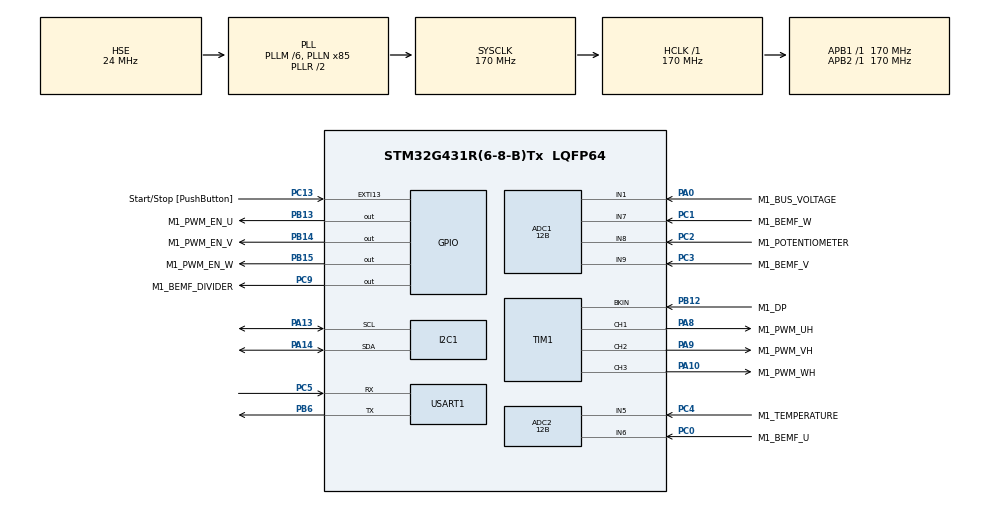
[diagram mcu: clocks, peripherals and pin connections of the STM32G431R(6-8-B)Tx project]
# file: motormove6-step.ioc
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ADC1.AWD1FilteringConfig=ADC_AWD_FILTERING_NONE
ADC1.Channel-1\#ChannelRegularConversion=ADC_CHANNEL_1
ADC1.Channel-2\#ChannelRegularConversion=ADC_CHANNEL_8
ADC1.ClockPrescaler=ADC_CLOCK_ASYNC_DIV1
ADC1.ContinuousConvMode=DISABLE
ADC1.DMAContinuousRequests=DISABLE
ADC1.DataAlign=ADC_DATAALIGN_LEFT
ADC1.DiscontinuousConvMode=DISABLE
ADC1.EOCSelection=ADC_EOC_SINGLE_CONV
ADC1.EnableAnalogWatchDog1=true
ADC1.EnableAnalogWatchDog2=false
ADC1.EnableAnalogWatchDog3=false
ADC1.EnableInjectedConversion=ENABLE
ADC1.EnableRegularConversion=ENABLE
ADC1.ExternalTrigConv=ADC_SOFTWARE_START
ADC1.ExternalTrigConvEdge=ADC_EXTERNALTRIGCONVEDGE_NONE
ADC1.ExternalTrigInjecConv=ADC_EXTERNALTRIGINJEC_T1_TRGO
ADC1.ExternalTrigInjecConvEdge=ADC_EXTERNALTRIGINJECCONV_EDGE_FALLING
ADC1.InjNumberOfConversion=1
ADC1.InjectedChannel-1\#ChannelInjectedConversion=ADC_CHANNEL_9
ADC1.InjectedConvMode=None
ADC1.InjectedOffset-1\#ChannelInjectedConversion=0
ADC1.InjectedOffsetNumber-1\#ChannelInjectedConversion=ADC_OFFSET_NONE
ADC1.InjectedRank-1\#ChannelInjectedConversion=1
ADC1.InjectedSamplingTime-1\#ChannelInjectedConversion=ADC_SAMPLETIME_47CYCLES_5
ADC1.LowPowerAutoWait=DISABLE
ADC1.NbrOfConversion=2
ADC1.NbrOfConversionFlag=1
ADC1.Offset-1\#ChannelRegularConversion=0
ADC1.Offset-2\#ChannelRegularConversion=0
ADC1.OffsetNumber-1\#ChannelRegularConversion=ADC_OFFSET_NONE
ADC1.OffsetNumber-2\#ChannelRegularConversion=ADC_OFFSET_NONE
ADC1.Overrun=ADC_OVR_DATA_PRESERVED
ADC1.Rank-1\#ChannelRegularConversion=1
ADC1.Rank-2\#ChannelRegularConversion=2
ADC1.Resolution=ADC_RESOLUTION_12B
ADC1.SamplingTime-1\#ChannelRegularConversion=ADC_SAMPLETIME_47CYCLES_5
ADC1.SamplingTime-2\#ChannelRegularConversion=ADC_SAMPLETIME_47CYCLES_5
ADC1.ScanConvMode=ADC_SCAN_ENABLE
ADC1.WatchdogChannel=ADC_CHANNEL_9
ADC1.WatchdogMode=ADC_ANALOGWATCHDOG_SINGLE_INJEC
ADC1.master=1
ADC2.AWD1FilteringConfig=ADC_AWD_FILTERING_NONE
ADC2.Channel-1\#ChannelRegularConversion=ADC_CHANNEL_5
ADC2.ClockPrescaler=ADC_CLOCK_ASYNC_DIV1
ADC2.ContinuousConvMode=DISABLE
ADC2.DMAContinuousRequests=DISABLE
ADC2.DataAlign=ADC_DATAALIGN_LEFT
ADC2.DiscontinuousConvMode=DISABLE
ADC2.EOCSelection=ADC_EOC_SINGLE_CONV
ADC2.EnableAnalogWatchDog1=true
ADC2.EnableAnalogWatchDog2=false
ADC2.EnableAnalogWatchDog3=false
ADC2.EnableInjectedConversion=ENABLE
ADC2.EnableRegularConversion=ENABLE
ADC2.ExternalTrigConv=ADC_SOFTWARE_START
ADC2.ExternalTrigConvEdge=ADC_EXTERNALTRIGCONVEDGE_NONE
ADC2.ExternalTrigInjecConv=ADC_EXTERNALTRIGINJEC_T1_TRGO
ADC2.ExternalTrigInjecConvEdge=ADC_EXTERNALTRIGINJECCONV_EDGE_FALLING
ADC2.InjNumberOfConversion=1
ADC2.InjectedChannel-1\#ChannelInjectedConversion=ADC_CHANNEL_6
ADC2.InjectedConvMode=None
ADC2.InjectedOffset-1\#ChannelInjectedConversion=0
ADC2.InjectedOffsetNumber-1\#ChannelInjectedConversion=ADC_OFFSET_NONE
ADC2.InjectedRank-1\#ChannelInjectedConversion=1
ADC2.InjectedSamplingTime-1\#ChannelInjectedConversion=ADC_SAMPLETIME_47CYCLES_5
ADC2.LowPowerAutoWait=DISABLE
ADC2.NbrOfConversion=1
ADC2.NbrOfConversionFlag=1
ADC2.Offset-1\#ChannelRegularConversion=0
ADC2.OffsetNumber-1\#ChannelRegularConversion=ADC_OFFSET_NONE
ADC2.Overrun=ADC_OVR_DATA_PRESERVED
ADC2.Rank-1\#ChannelRegularConversion=1
ADC2.Resolution=ADC_RESOLUTION_12B
ADC2.SamplingTime-1\#ChannelRegularConversion=ADC_SAMPLETIME_47CYCLES_5
ADC2.ScanConvMode=ADC_SCAN_DISABLE
ADC2.WatchdogChannel=ADC_CHANNEL_6
ADC2.WatchdogMode=ADC_ANALOGWATCHDOG_SINGLE_INJEC
ADC2.master=1
ExtraMW=MotorControl
ExtraMW.MotorControl.Config=MotorControl
ExtraMW.MotorControl.Mode=MotorControl
ExtraMW.MotorControl.Root=MCSDK_v6.4.2-Full/MotorControl
ExtraMW.MotorControl.Template=templates
FREERTOS.Queues01=TelemetryQueue,16,uint16_t,0,Dynamic,NULL,NULL
FREERTOS.Tasks01=defaultTask,24,128,StartDefaultTask,Default,NULL,Dynamic,NULL,NULL;TaskCommand,24,128,StartTask02,Default,NULL,Dynamic,NULL,NULL;TaskTelemetry,16,128,StartTask03,Default,NULL,Dynamic,NULL,NULL
FREERTOS.configUSE_NEWLIB_REENTRANT=1
I2C1.Timing=0x40B285C2
Mcu.Family=STM32G4
Mcu.Name=STM32G431R(6-8-B)Tx
Mcu.Package=LQFP64
MotorControl.ADC_REFERENCE_VOLTAGE=3.3
MotorControl.BEMF_ADC_SAMPLING_TIME=47
MotorControl.BEMF_ADC_TRIG_TIME_DPP=921
MotorControl.BEMF_ADC_TRIG_TIME_ON_DPP=256
MotorControl.BEMF_AVERAGING_FIFO_DEPTH=8
MotorControl.BEMF_DIVIDER_AVAILABLE=true
MotorControl.BEMF_DIVIDER_GPIO_PIN=LL_GPIO_PIN_9
MotorControl.BEMF_DIVIDER_GPIO_PORT=GPIOC
MotorControl.BEMF_ON_SENSING_DIVIDER=5.545455
MotorControl.BEMF_PWM_ON_ENABLE_HYSTERESIS_DPP=51
MotorControl.BEMF_PWM_ON_ENABLE_THRES_DPP=716
MotorControl.BOARD=NUCLEO-G431RB
MotorControl.BUS_VOLTAGE_READING=true
MotorControl.CCMRAM_ENABLED=false
MotorControl.CLOCK_FREQUENCY=CPU_CLK_170_MHZ
MotorControl.CLOCK_SOURCE=EXTERNAL
MotorControl.CPU_CLK_170_MHZ=true
MotorControl.CTLBOARD_NAME=NUCLEO-G431RB
MotorControl.CUBE_MX_VER=6.17.0
MotorControl.DBG_MCU_LOAD_MEASURE=false
MotorControl.DEBUG_DAC_FUNCTIONALITY_EN=false
MotorControl.DP_EMERGENCY_STOP_GPIO_PIN=LL_GPIO_PIN_12
MotorControl.DP_EMERGENCY_STOP_GPIO_PORT=GPIOB
MotorControl.DRIVES_NUMBER_SELECTION=SINGLEDRIVE
MotorControl.DRIVE_MODE=VM
MotorControl.DRIVE_NUMBER=1
MotorControl.DRIVE_TYPE=SIX_STEP
MotorControl.ENCODER_AVAILABLE=false
MotorControl.ENCODER_PPR=400
MotorControl.EXT_CLK_24_MHZ=true
MotorControl.EXT_CLOCK_FREQUENCY=EXT_CLK_24_MHZ
MotorControl.FAST_DEMAG=false
MotorControl.FLASH_SIZE=128
MotorControl.HALL_SENSORS_AVAILABLE=false
MotorControl.HIGH_SIDE_IDLE_STATE=false
MotorControl.HWV_DP=SingleErrorTrigger_FixedReference
MotorControl.HWV_POTENTIOMETER=Potentiometer
MotorControl.HWV_PWM=DrivingHighSidesAndThreeEnables
MotorControl.HW_COMPLEMENTED_LOW_SIDE=true
MotorControl.HW_DEAD_TIME_NS=550
MotorControl.IPs=NVIC,RCC,SYS,MotorControl,TIM1,TIM2,ADC2,ADC1,USART2,DMA
MotorControl.LF_TIMER_SELECTION=LF_TIM2
MotorControl.LOW_MEMORY_FOOTPRINT_REG=false
MotorControl.LOW_SIDE_IDLE_STATE=false
MotorControl.LOW_SIDE_SIGNALS_ENABLING=ES_GPIO
MotorControl.M1_ADC_AWD_FILTER_NUMBER=0
MotorControl.M1_AUXILIARY_SPEED_SENSOR=NONE
MotorControl.M1_BEMF_THRESHOLD_PWM=50
MotorControl.M1_BEMF_THRESHOLD_PWM_HIGH=100
MotorControl.M1_BEMF_THRESHOLD_PWM_LOW=1
MotorControl.M1_BOARD_MAX_CURRENT=0.8
MotorControl.M1_BUS_VOLTAGE_READING=true
MotorControl.M1_COMPUTATION_DELAY=-2
MotorControl.M1_CURRENT_MONITOR_READING=false
MotorControl.M1_CUR_READING=false
MotorControl.M1_DBG_OPEN_LOOP_ENABLE=false
MotorControl.M1_DC_CURRENT_RS_MEAS=0.8
MotorControl.M1_DEFAULT_TARGET_SPEED_RPM=236
MotorControl.M1_DP_BKIN_FILTER=4
MotorControl.M1_DP_BKIN_MODE=EXT_MODE
MotorControl.M1_DP_BKIN_POLARITY=EMSTOP_ACTIVE_LOW
MotorControl.M1_DP_DESTINATION=TIM_BKIN
MotorControl.M1_DP_TOPOLOGY=EXTERNAL
MotorControl.M1_DRIVE_TYPE=SIX_STEP
MotorControl.M1_ENABLE_SL_ALGO_FROM_PHASE=3
MotorControl.M1_ENCODER_PPR=400
MotorControl.M1_HALL_PHASE_SHIFT=300
MotorControl.M1_HALL_SENSORS_PLACEMENT=DEGREES_120
MotorControl.M1_HIGH_SIDE_IDLE_STATE=false
MotorControl.M1_HW_DEAD_TIME_NS=550
MotorControl.M1_ICL_ENABLED=false
MotorControl.M1_IPD_STARTUP=false
MotorControl.M1_LDLQ_RATIO=1.000
MotorControl.M1_LOW_SIDE_IDLE_STATE=false
MotorControl.M1_LOW_SIDE_SIGNALS_ENABLING=ES_GPIO
MotorControl.M1_LS=0.001058
MotorControl.M1_MAX_APPLICATION_SPEED=1572
MotorControl.M1_MAX_CONSECUTIVE_BEMF_ERRORS=3
MotorControl.M1_MIN_APPLICATION_SPEED=0
MotorControl.M1_MOTOR_MAX_SPEED_RPM=1572
MotorControl.M1_MOTOR_NAME=GimBal GBM2804H-100T
MotorControl.M1_MOTOR_RATED_FLUX=0.034739897
MotorControl.M1_MOTOR_VOLTAGE_CONSTANT=5.0
MotorControl.M1_NB_CONSECUTIVE_TESTS=10
MotorControl.M1_NOMINAL_BUS_VOLTAGE_V=13
MotorControl.M1_OBS_MINIMUM_SPEED_RPM=236
MotorControl.M1_OCP_TOPOLOGY=NONE
MotorControl.M1_ON_OVER_VOLTAGE=TURN_OFF_PWM
MotorControl.M1_OTF_STARTUP=false
MotorControl.M1_OVP_THRESHOLD_HIGH=15.1
MotorControl.M1_OV_TEMPERATURE_HYSTERESIS_C=10
MotorControl.M1_OV_TEMPERATURE_PROT_ENABLING=true
MotorControl.M1_OV_TEMPERATURE_THRESHOLD_C=110
MotorControl.M1_OV_VOLTAGE_PROT_ENABLING=true
MotorControl.M1_OV_VOLTAGE_THRESHOLD_V=15.1
MotorControl.M1_PHASE1_DURATION=500
MotorControl.M1_PHASE1_FINAL_SPEED_RPM=0
MotorControl.M1_PHASE1_VOLTAGE_RMS=0.52
MotorControl.M1_PHASE2_DURATION=1000
MotorControl.M1_PHASE2_FINAL_SPEED_RPM=236
MotorControl.M1_PHASE2_VOLTAGE_RMS=4.6
MotorControl.M1_PHASE3_DURATION=500
MotorControl.M1_PHASE3_FINAL_SPEED_RPM=236
MotorControl.M1_PHASE3_VOLTAGE_RMS=4.6
MotorControl.M1_PHASE4_DURATION=0
MotorControl.M1_PHASE4_FINAL_SPEED_RPM=0
MotorControl.M1_PHASE4_VOLTAGE_RMS=0.52
MotorControl.M1_PHASE5_DURATION=0
MotorControl.M1_PHASE5_FINAL_SPEED_RPM=0
MotorControl.M1_PHASE5_VOLTAGE_RMS=0.52
MotorControl.M1_PID_SPEED_KD_DEFAULT=0
MotorControl.M1_PID_SPEED_KI_DEFAULT=238
MotorControl.M1_PID_SPEED_KP_DEFAULT=2316
MotorControl.M1_POLE_PAIR_NUM=7
MotorControl.M1_POTENTIOMETER_ENABLE=true
MotorControl.M1_POWERBOARD_NAME=X-NUCLEO-IHM16M1
MotorControl.M1_PWM_CHARGE_BOOT_CAP_DUTY_CYCLES=0.000
MotorControl.M1_PWM_CHARGE_BOOT_CAP_MS=10
MotorControl.M1_PWM_DRIVER_PN=STSPIN830
MotorControl.M1_PWM_FREQUENCY=15000
MotorControl.M1_PWM_TIMER_BRK_IRQ=TIM1_BRK_TIM15
MotorControl.M1_PWM_TIMER_SELECTION=PWM_TIM1
MotorControl.M1_PWM_TIMER_UP_IRQ=TIM1_UP_TIM16
MotorControl.M1_REGULATION_EXECUTION_RATE=1
MotorControl.M1_RS=5.29
MotorControl.M1_SHARED_SIGNAL_ENABLE=false
MotorControl.M1_SPD_DIFFERENTIAL_TERM_ENABLING=false
MotorControl.M1_SPEED_LOOP_FREQUENCY_HZ=1000
MotorControl.M1_SPEED_SENSOR=SENSORLESS_ADC
MotorControl.M1_SP_KDDIV=16
MotorControl.M1_SP_KIDIV=16384
MotorControl.M1_SP_KPDIV=512
MotorControl.M1_SS_MEAS_ERRORS_BEFORE_FAULTS=3
MotorControl.M1_STARTING_ANGLE_DEG=0
MotorControl.M1_SW_DEADTIME_NS=425
MotorControl.M1_T0_C=25
MotorControl.M1_TEMPERATURE_READING=true
MotorControl.M1_TEMP_ADC_SAMPLING_TIME=47
MotorControl.M1_TEMP_FDBK_ADC=ADC2
MotorControl.M1_TEMP_FDBK_CHANNEL=ADC_CHANNEL_5
MotorControl.M1_TRANSITION_DURATION=30
MotorControl.M1_T_MAX=110
MotorControl.M1_UD_VOLTAGE_THRESHOLD_V=7.0
MotorControl.M1_UV_VOLTAGE_PROT_ENABLING=true
MotorControl.M1_V0_V=0.579
MotorControl.M1_VBUS_ADC=ADC1
MotorControl.M1_VBUS_ADC_SAMPLING_TIME=47
MotorControl.M1_VBUS_CHANNEL=ADC_CHANNEL_1
MotorControl.M1_VBUS_PARTITIONING_FACTOR=0.0625
MotorControl.M1_ZCD_FALLING_TO_COMM=30
MotorControl.M1_ZCD_RISING_TO_COMM=30
MotorControl.M1_dV_dT=0.027
MotorControl.MCP_ASPEP_OVER_UART=true
MotorControl.MCP_ASYNC_EN=false
MotorControl.MCP_ASYNC_OVER_ASPEP_EN=false
MotorControl.MCP_ASYNC_OVER_UART_A_EN=false
MotorControl.MCP_DMACH_RX_UART_A=1
MotorControl.MCP_DMACH_TX_UART_A=2
MotorControl.MCP_DMA_RX_UART_A=DMA1
MotorControl.MCP_DMA_TX_UART_A=DMA1
MotorControl.MCP_EN=true
MotorControl.MCP_IRQ_HANDLER_DMA_RX_UART_A=DMA1_Channel1_IRQHandler
MotorControl.MCP_IRQ_HANDLER_UART_A=USART2_IRQHandler
MotorControl.MCP_OVER_ASPEP_EN=true
MotorControl.MCP_OVER_STLNK_EN=false
MotorControl.MCP_OVER_UART_A_EN=true
MotorControl.MCP_OVER_UART_B_EN=false
MotorControl.MCP_RX_SYNC_PAYLOAD_MAX=256
MotorControl.MCP_TX_SYNC_PAYLOAD_MAX=256
MotorControl.MCU=STM32G431RB
MotorControl.MCU_FAMILY=STM32G4
MotorControl.MCU_LINE=STM32G4x1
MotorControl.MCU_NAME=STM32G431R(6-8-B)Tx
MotorControl.MCU_PACKAGE=LQFP64
MotorControl.MCU_TYPE=STM32G431RB
MotorControl.MCU_USERNAME=STM32G431RBTx
MotorControl.MC_WORKBENCH_VERSION=6.4.2
MotorControl.MIN_DEMAG_TIME=3
MotorControl.MOTOR_TYPE=PMSM
MotorControl.ON_OVER_VOLTAGE=TURN_OFF_PWM
MotorControl.OV_TEMPERATURE_PROT_ENABLING=true
MotorControl.OV_VOLTAGE_PROT_ENABLING=true
MotorControl.PHASE_UH_GPIO_PIN=LL_GPIO_PIN_8
MotorControl.PHASE_UH_GPIO_PORT=GPIOA
MotorControl.PHASE_UH_POLARITY=H_ACTIVE_HIGH
MotorControl.PHASE_UL_GPIO_PIN=LL_GPIO_PIN_13
MotorControl.PHASE_UL_GPIO_PORT=GPIOB
MotorControl.PHASE_UL_POLARITY=L_ACTIVE_HIGH
MotorControl.PHASE_U_BEMF_ADC=ADC2
MotorControl.PHASE_U_BEMF_CHANNEL=ADC_CHANNEL_6
MotorControl.PHASE_U_BEMF_GPIO_PIN=LL_GPIO_PIN_0
MotorControl.PHASE_U_BEMF_GPIO_PORT=GPIOC
MotorControl.PHASE_U_PWM_CHANNEL=TIM_Channel_1
MotorControl.PHASE_VH_GPIO_PIN=LL_GPIO_PIN_9
MotorControl.PHASE_VH_GPIO_PORT=GPIOA
MotorControl.PHASE_VH_POLARITY=H_ACTIVE_HIGH
MotorControl.PHASE_VL_GPIO_PIN=LL_GPIO_PIN_14
MotorControl.PHASE_VL_GPIO_PORT=GPIOB
MotorControl.PHASE_VL_POLARITY=L_ACTIVE_HIGH
MotorControl.PHASE_V_BEMF_ADC=ADC1
MotorControl.PHASE_V_BEMF_CHANNEL=ADC_CHANNEL_9
MotorControl.PHASE_V_BEMF_GPIO_PIN=LL_GPIO_PIN_3
MotorControl.PHASE_V_BEMF_GPIO_PORT=GPIOC
MotorControl.PHASE_V_PWM_CHANNEL=TIM_Channel_2
MotorControl.PHASE_WH_GPIO_PIN=LL_GPIO_PIN_10
MotorControl.PHASE_WH_GPIO_PORT=GPIOA
MotorControl.PHASE_WH_POLARITY=H_ACTIVE_HIGH
MotorControl.PHASE_WL_GPIO_PIN=LL_GPIO_PIN_15
MotorControl.PHASE_WL_GPIO_PORT=GPIOB
MotorControl.PHASE_WL_POLARITY=L_ACTIVE_HIGH
MotorControl.PHASE_W_BEMF_ADC=ADC1
MotorControl.PHASE_W_BEMF_CHANNEL=ADC_CHANNEL_7
MotorControl.PHASE_W_BEMF_GPIO_PIN=LL_GPIO_PIN_1
MotorControl.PHASE_W_BEMF_GPIO_PORT=GPIOC
MotorControl.PHASE_W_PWM_CHANNEL=TIM_Channel_3
MotorControl.POTENTIOMETER_ADC=ADC1
MotorControl.POTENTIOMETER_ADC_SAMPLING_TIME=47
MotorControl.POTENTIOMETER_CHANNEL=ADC_CHANNEL_8
MotorControl.POTENTIOMETER_GPIO_PIN=LL_GPIO_PIN_2
MotorControl.POTENTIOMETER_GPIO_PORT=GPIOC
MotorControl.POTENTIOMETER_READING=true
MotorControl.PWM_FREQUENCY=15000
MotorControl.PWM_TIMER_SELECTION=PWM_TIM1
MotorControl.QUASI_SYNC=false
MotorControl.REGULATION_EXECUTION_RATE=1
MotorControl.RUN_DEMAG_TIME=20
MotorControl.R_BRAKE_SWITCH_OFF_THRES_V=12
MotorControl.SENSORLESS_ADC=true
MotorControl.SINGLEDRIVE=true
MotorControl.SPD_DIFFERENTIAL_TERM_ENABLING=false
MotorControl.SPEED_SENSOR_SELECTION=SENSORLESS_ADC
MotorControl.SPEED_THRESHOLD_DEMAG=786
MotorControl.STARTUP_DEMAG_TIME=20
MotorControl.START_STOP_BTN=true
MotorControl.START_STOP_GPIO_IRQ=EXTI15_10
MotorControl.START_STOP_GPIO_PIN=LL_GPIO_PIN_13
MotorControl.START_STOP_GPIO_PORT=GPIOC
MotorControl.START_STOP_POLARITY=DIN_ACTIVE_LOW
MotorControl.START_STOP_POLARITY_EDGE=GPIO_NOPULL
MotorControl.STM32G431RB=true
MotorControl.SW_DEADTIME_NS=425
MotorControl.TEMPERATURE_READING=true
MotorControl.TEMP_ADC_SAMPLING_TIME=47
MotorControl.TEMP_FDBK_ADC=ADC2
MotorControl.TEMP_FDBK_CHANNEL=ADC_CHANNEL_5
MotorControl.TEMP_FDBK_GPIO_PIN=LL_GPIO_PIN_4
MotorControl.TEMP_FDBK_GPIO_PORT=GPIOC
MotorControl.TFDIFFERENTIAL_TERM_ENABLING=false
MotorControl.USART_RX_GPIO_PIN=LL_GPIO_PIN_3
MotorControl.USART_RX_GPIO_PORT=GPIOA
MotorControl.USART_SELECTION=USE_USART2
MotorControl.USART_SELECTION_A=USART2
MotorControl.USART_SPEED=1843200
MotorControl.USART_TX_GPIO_PIN=LL_GPIO_PIN_2
MotorControl.USART_TX_GPIO_PORT=GPIOA
MotorControl.UV_VOLTAGE_PROT_ENABLING=true
MotorControl.VBUS_ADC=ADC1
MotorControl.VBUS_ADC_SAMPLING_TIME=47
MotorControl.VBUS_CHANNEL=ADC_CHANNEL_1
MotorControl.VBUS_GPIO_PIN=LL_GPIO_PIN_0
MotorControl.VBUS_GPIO_PORT=GPIOA
MotorControl.WB_MX_ADC_AWD_FILTER_NUMBER=NONE
MotorControl.WB_MX_HEAPSIZE=0x200
MotorControl.WB_MX_PHASE_U_BEMF_ADC_IRQ=ADC1_2
MotorControl.WB_MX_PHASE_V_BEMF_ADC_IRQ=ADC1_2
MotorControl.WB_MX_PHASE_W_BEMF_ADC_IRQ=ADC1_2
MotorControl.WB_MX_STACKSIZE=0x400
MotorControl.WB_MX_TRUSTZONE_AVAILABLE=false
MotorControl.WB_UI_DP_DISABLING_ENABLE=false
MotorControl.WB_UI_ENCODER_HAS_INDEX_PIN=false
MotorControl.WB_UI_FRICTION=0.937
MotorControl.WB_UI_INERTIA=0.291
MotorControl.WB_UI_MAGNETIC_STRUCTURE=SM-PMSM
MotorControl.WB_UI_MAX_CURRENT=0.8
MotorControl.WB_UI_MAX_NOMINAL_DC_VOLTAGE=13
MotorControl.WB_UI_MAX_PWMFREQUENCY=100000
MotorControl.WB_UI_MOTOR_DESCRIPTION=iPower GBM2804H-100T Brushless Gimbal Motor
MotorControl.WB_UI_PWM_ON_SENSING=true
MotorControl.WB_UI_PW_BOARD_MAX_RATED_CURRENT=2.12
MotorControl.WB_UI_PW_BOARD_MAX_VOLTAGE=45
MotorControl.WB_UI_PW_BOARD_MIN_VOLTAGE=7
MotorControl.WB_to_Mx_template_version=25-05-06
MotorControl.WB_to_Mx_version=6.4.2
NVIC.ADC1_2_IRQn=true\:5\:0\:true\:true\:false\:4\:true\:true\:true\:true
NVIC.EXTI15_10_IRQn=true\:5\:0\:false\:true\:false\:5\:true\:true\:true\:true
NVIC.PriorityGroup=NVIC_PRIORITYGROUP_4
NVIC.TIM1_BRK_TIM15_IRQn=true\:5\:0\:true\:true\:false\:2\:true\:true\:true\:true
NVIC.TIM1_UP_TIM16_IRQn=true\:5\:0\:false\:true\:false\:3\:true\:true\:true\:true
NVIC.TIM2_IRQn=true\:5\:0\:true\:true\:false\:1\:true\:true\:true\:true
NVIC.TIM6_DAC_IRQn=true\:15\:0\:true\:false\:true\:false\:false\:true\:true
NVIC.TimeBase=TIM6_DAC_IRQn
NVIC.TimeBaseIP=TIM6
PA0.GPIO_Label=M1_BUS_VOLTAGE
PA0.Mode=IN1-Single-Ended
PA0.Signal=ADC1_IN1
PA10.GPIO_Label=M1_PWM_WH
PA10.GPIO_PuPd=GPIO_PULLDOWN
PA10.GPIO_Speed=GPIO_SPEED_FREQ_HIGH
PA10.Signal=S_TIM1_CH3
PA13.GPIO_Pu=GPIO_PULLUP
PA13.GPIO_Speed=GPIO_SPEED_FREQ_VERY_HIGH
PA13.Mode=I2C
PA13.Signal=I2C1_SCL
PA14.GPIO_Pu=GPIO_PULLUP
PA14.GPIO_Speed=GPIO_SPEED_FREQ_VERY_HIGH
PA14.Mode=I2C
PA14.Signal=I2C1_SDA
PA2.GPIO_Label=UART_TX
PA2.GPIO_Mode=GPIO_MODE_AF_PP
PA2.GPIO_PuPd=GPIO_NOPULL
PA2.GPIO_Speed=GPIO_SPEED_FREQ_LOW
PA2.Signal=USART2_TX
PA3.GPIO_Label=UART_RX
PA3.GPIO_Mode=GPIO_MODE_AF_PP
PA3.GPIO_PuPd=GPIO_NOPULL
PA3.GPIO_Speed=GPIO_SPEED_FREQ_LOW
PA3.Signal=USART2_RX
PA8.GPIO_Label=M1_PWM_UH
PA8.GPIO_PuPd=GPIO_PULLDOWN
PA8.GPIO_Speed=GPIO_SPEED_FREQ_HIGH
PA8.Signal=S_TIM1_CH1
PA9.GPIO_Label=M1_PWM_VH
PA9.GPIO_PuPd=GPIO_PULLDOWN
PA9.GPIO_Speed=GPIO_SPEED_FREQ_HIGH
PA9.Signal=S_TIM1_CH2
PB12.GPIO_Label=M1_DP
PB12.GPIO_PuPd=GPIO_PULLUP
PB12.Mode=Activate-Break-Input
PB12.Signal=TIM1_BKIN
PB13.GPIO_Label=M1_PWM_EN_U
PB13.GPIO_PuPd=GPIO_PULLDOWN
PB13.GPIO_Speed=GPIO_SPEED_FREQ_HIGH
PB13.Signal=GPIO_Output
PB14.GPIO_Label=M1_PWM_EN_V
PB14.GPIO_PuPd=GPIO_PULLDOWN
PB14.GPIO_Speed=GPIO_SPEED_FREQ_HIGH
PB14.Signal=GPIO_Output
PB15.GPIO_Label=M1_PWM_EN_W
PB15.GPIO_PuPd=GPIO_PULLDOWN
PB15.GPIO_Speed=GPIO_SPEED_FREQ_HIGH
PB15.Signal=GPIO_Output
PB6.Mode=Asynchronous
PB6.Signal=USART1_TX
PC0.GPIO_Label=M1_BEMF_U
PC0.Mode=IN6-Single-Ended
PC0.Signal=ADC2_IN6
PC1.GPIO_Label=M1_BEMF_W
PC1.Mode=IN7-Single-Ended
PC1.Signal=ADC1_IN7
PC13.GPIO_Label=Start/Stop [PushButton]
PC13.GPIO_ModeDefaultEXTI=GPIO_MODE_IT_FALLING
PC13.GPIO_PuPd=GPIO_NOPULL
PC13.Signal=GPXTI13
PC2.GPIO_Label=M1_POTENTIOMETER
PC2.Mode=IN8-Single-Ended
PC2.Signal=ADC1_IN8
PC3.GPIO_Label=M1_BEMF_V
PC3.Mode=IN9-Single-Ended
PC3.Signal=ADC1_IN9
PC4.GPIO_Label=M1_TEMPERATURE
PC4.Mode=IN5-Single-Ended
PC4.Signal=ADC2_IN5
PC5.Mode=Asynchronous
PC5.Signal=USART1_RX
PC9.GPIO_Label=M1_BEMF_DIVIDER
PC9.GPIO_PuPd=GPIO_PULLDOWN
PC9.PinState=GPIO_PIN_RESET
PC9.Signal=GPIO_Output
PF0-OSC_IN.Mode=HSE-External-Oscillator
PF0-OSC_IN.Signal=RCC_OSC_IN
PF1-OSC_OUT.Mode=HSE-External-Oscillator
PF1-OSC_OUT.Signal=RCC_OSC_OUT
ProjectManager.HeapSize=0x200
ProjectManager.StackSize=0x400
ProjectManager.TargetToolchain=STM32CubeIDE
RCC.ADC12CLockSelection=RCC_ADC12CLKSOURCE_PLL
RCC.ADC12Freq_Value=42500000
RCC.AHBFreq_Value=170000000
RCC.APB1Freq_Value=170000000
RCC.APB1TimFreq_Value=170000000
RCC.APB2Freq_Value=170000000
RCC.APB2TimFreq_Value=170000000
RCC.CK48CLockSelection=RCC_USBCLKSOURCE_PLL
RCC.CortexFreq_Value=170000000
RCC.EXTERNAL_CLOCK_VALUE=12288000
RCC.EnbaleCSS=true
RCC.HCLKFreq_Value=170000000
RCC.HSE_VALUE=24000000
RCC.HSI48_VALUE=48000000
RCC.HSI_VALUE=16000000
RCC.LSE_VALUE=32768
RCC.PLLM=RCC_PLLM_DIV6
RCC.PLLN=85
RCC.PLLP=RCC_PLLP_DIV8
RCC.PLLSourceVirtual=RCC_PLLSOURCE_HSE
RCC.PREFETCH_ENABLE=1
RCC.SYSCLKFreq_VALUE=170000000
RCC.SYSCLKSource=RCC_SYSCLKSOURCE_PLLCLK
RCC.USBFreq_Value=170000000
RCC.VCOOutputFreq_Value=340000000
SH.S_TIM1_CH1.0=TIM1_CH1,PWM Generation1 CH1
SH.S_TIM1_CH2.0=TIM1_CH2,PWM Generation2 CH2
SH.S_TIM1_CH3.0=TIM1_CH3,PWM Generation3 CH3
TIM1.AutoReloadPreload=TIM_AUTORELOAD_PRELOAD_DISABLE
TIM1.AutomaticOutput=TIM_AUTOMATICOUTPUT_DISABLE
TIM1.Break2Filter=3
TIM1.Break2Polarity=TIM_BREAK2POLARITY_HIGH
TIM1.Break2State=TIM_BREAK2_DISABLE
TIM1.BreakFilter=4
TIM1.BreakPolarity=TIM_BREAKPOLARITY_HIGH
TIM1.BreakState=TIM_BREAK_ENABLE
TIM1.Channel=TIM_CHANNEL_4
TIM1.Channel-PWM\ Generation1\ CH1=TIM_CHANNEL_1
TIM1.Channel-PWM\ Generation2\ CH2=TIM_CHANNEL_2
TIM1.Channel-PWM\ Generation3\ CH3=TIM_CHANNEL_3
TIM1.Channel-PWM\ Generation4\ No\ Output=TIM_CHANNEL_4
TIM1.ClearInputSource=TIM_CLEARINPUTSOURCE_NONE
TIM1.ClockDivision=TIM_CLOCKDIVISION_DIV1
TIM1.CounterMode=TIM_COUNTERMODE_UP
TIM1.LockLevel=TIM_LOCKLEVEL_OFF
TIM1.OC1Preload_PWM=ENABLE
TIM1.OC2Preload_PWM=ENABLE
TIM1.OC3Preload_PWM=ENABLE
TIM1.OC4Preload_PWM=ENABLE
TIM1.OCFastMode_PWM=TIM_OCFAST_DISABLE
TIM1.OCIdleState_1=TIM_OCIDLESTATE_RESET
TIM1.OCIdleState_2=TIM_OCIDLESTATE_RESET
TIM1.OCIdleState_3=TIM_OCIDLESTATE_RESET
TIM1.OCIdleState_4=TIM_OCIDLESTATE_RESET
TIM1.OCMode_PWM-PWM\ Generation1\ CH1=TIM_OCMODE_PWM1
TIM1.OCMode_PWM-PWM\ Generation2\ CH2=TIM_OCMODE_PWM1
TIM1.OCMode_PWM-PWM\ Generation3\ CH3=TIM_OCMODE_PWM1
TIM1.OCMode_PWM-PWM\ Generation4\ No\ Output=TIM_OCMODE_PWM1
TIM1.OCPolarity_1=TIM_OCPOLARITY_HIGH
TIM1.OCPolarity_2=TIM_OCPOLARITY_HIGH
TIM1.OCPolarity_3=TIM_OCPOLARITY_HIGH
TIM1.OCPolarity_4=TIM_OCPOLARITY_HIGH
TIM1.OffStateIDLEMode=TIM_OSSI_DISABLE
TIM1.OffStateRunMode=TIM_OSSR_DISABLE
TIM1.PeriodNoDither=(PWM_PERIOD_CYCLES)
TIM1.Prescaler=((TIM_CLOCK_DIVIDER) - 1)
TIM1.RepetitionCounter=(REP_COUNTER)
TIM1.SourceBRK2DigInput=TIM_BREAKINPUTSOURCE_DISABLE
TIM1.SourceBRKDigInput=TIM_BREAKINPUTSOURCE_ENABLE
TIM1.SourceBRKDigInputPolarity=TIM_BREAKINPUTSOURCE_POLARITY_LOW
TIM1.TIM_MasterOutputTrigger=TIM_TRGO_OC4REF
TIM1.TIM_MasterOutputTrigger2=TIM_TRGO2_RESET
TIM1.TIM_MasterSlaveMode=TIM_MASTERSLAVEMODE_ENABLE
TIM2.PeriodNoDither=LF_TIMER_ARR
TIM2.Prescaler=LF_TIMER_PSC
TIM2.TIM_MasterOutputTrigger=TIM_TRGO_ENABLE
TIM2.TIM_MasterSlaveMode=TIM_MASTERSLAVEMODE_ENABLE
USART1.VirtualMode-Asynchronous=VM_ASYNC
VP_FREERTOS_VS_CMSIS_V2.Mode=CMSIS_V2
VP_MotorControl_MC_ENABLED.Mode=SixStep
VP_SYS_VS_DBSignals.Mode=DisableDeadBatterySignals
VP_SYS_VS_tim6.Mode=TIM6
VP_TIM1_VS_ClockSourceINT.Mode=Internal
VP_TIM1_VS_no_output4.Mode=PWM Generation4 No Output
VP_TIM2_VS_ClockSourceINT.Mode=Internal
board=custom

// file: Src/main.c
/* USER CODE BEGIN Header */
/**
  ******************************************************************************
  * @file           : main.c
  * @brief          : Main program body
  ******************************************************************************
  * @attention
  *
  * Copyright (c) 2026 STMicroelectronics.
  * All rights reserved.
  *
  * This software is licensed under terms that can be found in the LICENSE file
  * in the root directory of this software component.
  * If no LICENSE file comes with this software, it is provided AS-IS.
  *
  ******************************************************************************
  */
/* USER CODE END Header */
#include "main.h"
#include "cmsis_os.h"

/* USER CODE BEGIN Includes */
#include "mc_interface.h"
#include "motorcontrol.h"
#include <stdbool.h>
#include <stdio.h>
#include "mc_tasks.h"
#include <string.h>

/* USER CODE END Includes */

/* USER CODE BEGIN PD */
#define SERLCD_WRITE_ADDR (0x72 << 1)

/* USER CODE END PD */

ADC_HandleTypeDef hadc1;
ADC_HandleTypeDef hadc2;

I2C_HandleTypeDef hi2c1;

TIM_HandleTypeDef htim1;
TIM_HandleTypeDef htim2;

UART_HandleTypeDef huart1;

/* Definitions for defaultTask */
osThreadId_t defaultTaskHandle;
const osThreadAttr_t defaultTask_attributes = {
  .name = "defaultTask",
  .priority = (osPriority_t) osPriorityNormal,
  .stack_size = 128 * 4
};
/* Definitions for TaskCommand */
osThreadId_t TaskCommandHandle;
const osThreadAttr_t TaskCommand_attributes = {
  .name = "TaskCommand",
  .priority = (osPriority_t) osPriorityNormal,
  .stack_size = 128 * 4
};
/* Definitions for TaskTelemetry */
osThreadId_t TaskTelemetryHandle;
const osThreadAttr_t TaskTelemetry_attributes = {
  .name = "TaskTelemetry",
  .priority = (osPriority_t) osPriorityBelowNormal,
  .stack_size = 128 * 4
};
/* Definitions for TelemetryQueue */
osMessageQueueId_t TelemetryQueueHandle;
const osMessageQueueAttr_t TelemetryQueue_attributes = {
  .name = "TelemetryQueue"
};
/* USER CODE BEGIN PV */
volatile bool motor_running = false;
/* USER CODE END PV */

void SystemClock_Config(void);
static void MX_GPIO_Init(void);
static void MX_ADC1_Init(void);
static void MX_ADC2_Init(void);
static void MX_TIM1_Init(void);
static void MX_TIM2_Init(void);
static void MX_I2C1_Init(void);
static void MX_USART1_UART_Init(void);
void StartDefaultTask(void *argument);
void StartTask02(void *argument);
void StartTask03(void *argument);

static void MX_NVIC_Init(void);
/* USER CODE BEGIN PFP */
void writeLCDText(char* text);
/* USER CODE END PFP */

int main(void)
{

  /* MCU Configuration--------------------------------------------------------*/

  /* Reset of all peripherals, Initializes the Flash interface and the Systick. */
  HAL_Init();

  /* Configure the system clock */
  SystemClock_Config();

  /* Initialize all configured peripherals */
  MX_GPIO_Init();
  MX_ADC1_Init();
  MX_ADC2_Init();
  MX_TIM1_Init();
  MX_TIM2_Init();
  MX_MotorControl_Init();
  MX_I2C1_Init();
  MX_USART1_UART_Init();

  /* Initialize interrupts */
  MX_NVIC_Init();
  /* USER CODE BEGIN 2 */
  // 1. Clear any lingering faults from startup
  MC_AcknowledgeFaultMotor1();

  // 2. Set the target speed FIRST (speed, duration in ms)
//  MC_ProgramSpeedRampMotor1(3000, 500);

  // 3. Command the motor to start
//  MC_StartMotor1();
  /* USER CODE END 2 */

  /* Init scheduler */
  osKernelInitialize();

  /* Create the queue(s) */
  /* creation of TelemetryQueue */
  TelemetryQueueHandle = osMessageQueueNew (16, sizeof(uint16_t), &TelemetryQueue_attributes);

  /* Create the thread(s) */
  /* creation of defaultTask */
  defaultTaskHandle = osThreadNew(StartDefaultTask, NULL, &defaultTask_attributes);

  /* creation of TaskCommand */
  TaskCommandHandle = osThreadNew(StartTask02, NULL, &TaskCommand_attributes);

  /* creation of TaskTelemetry */
  TaskTelemetryHandle = osThreadNew(StartTask03, NULL, &TaskTelemetry_attributes);

  /* Start scheduler */
  osKernelStart();

  /* We should never get here as control is now taken by the scheduler */

  /* Infinite loop */
  while (1)
  {

  }
}

void SystemClock_Config(void)
{
  RCC_OscInitTypeDef RCC_OscInitStruct = {0};
  RCC_ClkInitTypeDef RCC_ClkInitStruct = {0};

  /** Configure the main internal regulator output voltage
  */
  HAL_PWREx_ControlVoltageScaling(PWR_REGULATOR_VOLTAGE_SCALE1_BOOST);

  /** Initializes the RCC Oscillators according to the specified parameters
  * in the RCC_OscInitTypeDef structure.
  */
  RCC_OscInitStruct.OscillatorType = RCC_OSCILLATORTYPE_HSE;
  RCC_OscInitStruct.HSEState = RCC_HSE_ON;
  RCC_OscInitStruct.PLL.PLLState = RCC_PLL_ON;
  RCC_OscInitStruct.PLL.PLLSource = RCC_PLLSOURCE_HSE;
  RCC_OscInitStruct.PLL.PLLM = RCC_PLLM_DIV6;
  RCC_OscInitStruct.PLL.PLLN = 85;
  RCC_OscInitStruct.PLL.PLLP = RCC_PLLP_DIV8;
  RCC_OscInitStruct.PLL.PLLQ = RCC_PLLQ_DIV2;
  RCC_OscInitStruct.PLL.PLLR = RCC_PLLR_DIV2;
  if (HAL_RCC_OscConfig(&RCC_OscInitStruct) != HAL_OK)
  {
    Error_Handler();
  }

  /** Initializes the CPU, AHB and APB buses clocks
  */
  RCC_ClkInitStruct.ClockType = RCC_CLOCKTYPE_HCLK|RCC_CLOCKTYPE_SYSCLK
                              |RCC_CLOCKTYPE_PCLK1|RCC_CLOCKTYPE_PCLK2;
  RCC_ClkInitStruct.SYSCLKSource = RCC_SYSCLKSOURCE_PLLCLK;
  RCC_ClkInitStruct.AHBCLKDivider = RCC_SYSCLK_DIV1;
  RCC_ClkInitStruct.APB1CLKDivider = RCC_HCLK_DIV1;
  RCC_ClkInitStruct.APB2CLKDivider = RCC_HCLK_DIV1;

  if (HAL_RCC_ClockConfig(&RCC_ClkInitStruct, FLASH_LATENCY_4) != HAL_OK)
  {
    Error_Handler();
  }

  /** Enables the Clock Security System
  */
  HAL_RCC_EnableCSS();
}

/**
  * @brief NVIC Configuration.
  * @retval None
  */
static void MX_NVIC_Init(void)
{
  /* TIM2_IRQn interrupt configuration */
  HAL_NVIC_SetPriority(TIM2_IRQn, 5, 0);
  HAL_NVIC_EnableIRQ(TIM2_IRQn);
  /* TIM1_BRK_TIM15_IRQn interrupt configuration */
  HAL_NVIC_SetPriority(TIM1_BRK_TIM15_IRQn, 5, 0);
  HAL_NVIC_EnableIRQ(TIM1_BRK_TIM15_IRQn);
  /* TIM1_UP_TIM16_IRQn interrupt configuration */
  HAL_NVIC_SetPriority(TIM1_UP_TIM16_IRQn, 5, 0);
  HAL_NVIC_EnableIRQ(TIM1_UP_TIM16_IRQn);
  /* ADC1_2_IRQn interrupt configuration */
  HAL_NVIC_SetPriority(ADC1_2_IRQn, 5, 0);
  HAL_NVIC_EnableIRQ(ADC1_2_IRQn);
  /* EXTI15_10_IRQn interrupt configuration */
  HAL_NVIC_SetPriority(EXTI15_10_IRQn, 5, 0);
  HAL_NVIC_EnableIRQ(EXTI15_10_IRQn);
}

static void MX_ADC1_Init(void)
{

  ADC_MultiModeTypeDef multimode = {0};
  ADC_AnalogWDGConfTypeDef AnalogWDGConfig = {0};
  ADC_InjectionConfTypeDef sConfigInjected = {0};
  ADC_ChannelConfTypeDef sConfig = {0};

  /** Common config
  */
  hadc1.Instance = ADC1;
  hadc1.Init.ClockPrescaler = ADC_CLOCK_ASYNC_DIV1;
  hadc1.Init.Resolution = ADC_RESOLUTION_12B;
  hadc1.Init.DataAlign = ADC_DATAALIGN_LEFT;
  hadc1.Init.GainCompensation = 0;
  hadc1.Init.ScanConvMode = ADC_SCAN_ENABLE;
  hadc1.Init.EOCSelection = ADC_EOC_SINGLE_CONV;
  hadc1.Init.LowPowerAutoWait = DISABLE;
  hadc1.Init.ContinuousConvMode = DISABLE;
  hadc1.Init.NbrOfConversion = 2;
  hadc1.Init.DiscontinuousConvMode = DISABLE;
  hadc1.Init.ExternalTrigConv = ADC_SOFTWARE_START;
  hadc1.Init.ExternalTrigConvEdge = ADC_EXTERNALTRIGCONVEDGE_NONE;
  hadc1.Init.DMAContinuousRequests = DISABLE;
  hadc1.Init.Overrun = ADC_OVR_DATA_PRESERVED;
  hadc1.Init.OversamplingMode = DISABLE;
  if (HAL_ADC_Init(&hadc1) != HAL_OK)
  {
    Error_Handler();
  }

  /** Configure the ADC multi-mode
  */
  multimode.Mode = ADC_MODE_INDEPENDENT;
  if (HAL_ADCEx_MultiModeConfigChannel(&hadc1, &multimode) != HAL_OK)
  {
    Error_Handler();
  }

  /** Configure Analog WatchDog 1
  */
  AnalogWDGConfig.WatchdogNumber = ADC_ANALOGWATCHDOG_1;
  AnalogWDGConfig.WatchdogMode = ADC_ANALOGWATCHDOG_SINGLE_INJEC;
  AnalogWDGConfig.Channel = ADC_CHANNEL_9;
  AnalogWDGConfig.ITMode = DISABLE;
  AnalogWDGConfig.HighThreshold = 0;
  AnalogWDGConfig.LowThreshold = 0;
  AnalogWDGConfig.FilteringConfig = ADC_AWD_FILTERING_NONE;
  if (HAL_ADC_AnalogWDGConfig(&hadc1, &AnalogWDGConfig) != HAL_OK)
  {
    Error_Handler();
  }

  /** Configure Injected Channel
  */
  sConfigInjected.InjectedChannel = ADC_CHANNEL_9;
  sConfigInjected.InjectedRank = ADC_INJECTED_RANK_1;
  sConfigInjected.InjectedSamplingTime = ADC_SAMPLETIME_47CYCLES_5;
  sConfigInjected.InjectedSingleDiff = ADC_SINGLE_ENDED;
  sConfigInjected.InjectedOffsetNumber = ADC_OFFSET_NONE;
  sConfigInjected.InjectedOffset = 0;
  sConfigInjected.InjectedNbrOfConversion = 1;
  sConfigInjected.InjectedDiscontinuousConvMode = DISABLE;
  sConfigInjected.AutoInjectedConv = DISABLE;
  sConfigInjected.QueueInjectedContext = DISABLE;
  sConfigInjected.ExternalTrigInjecConv = ADC_EXTERNALTRIGINJEC_T1_TRGO;
  sConfigInjected.ExternalTrigInjecConvEdge = ADC_EXTERNALTRIGINJECCONV_EDGE_FALLING;
  sConfigInjected.InjecOversamplingMode = DISABLE;
  if (HAL_ADCEx_InjectedConfigChannel(&hadc1, &sConfigInjected) != HAL_OK)
  {
    Error_Handler();
  }

  /** Configure Regular Channel
  */
  sConfig.Channel = ADC_CHANNEL_1;
  sConfig.Rank = ADC_REGULAR_RANK_1;
  sConfig.SamplingTime = ADC_SAMPLETIME_47CYCLES_5;
  sConfig.SingleDiff = ADC_SINGLE_ENDED;
  sConfig.OffsetNumber = ADC_OFFSET_NONE;
  sConfig.Offset = 0;
  if (HAL_ADC_ConfigChannel(&hadc1, &sConfig) != HAL_OK)
  {
    Error_Handler();
  }

  /** Configure Regular Channel
  */
  sConfig.Channel = ADC_CHANNEL_8;
  sConfig.Rank = ADC_REGULAR_RANK_2;
  if (HAL_ADC_ConfigChannel(&hadc1, &sConfig) != HAL_OK)
  {
    Error_Handler();
  }

}

static void MX_ADC2_Init(void)
{

  ADC_AnalogWDGConfTypeDef AnalogWDGConfig = {0};
  ADC_InjectionConfTypeDef sConfigInjected = {0};
  ADC_ChannelConfTypeDef sConfig = {0};

  /** Common config
  */
  hadc2.Instance = ADC2;
  hadc2.Init.ClockPrescaler = ADC_CLOCK_ASYNC_DIV1;
  hadc2.Init.Resolution = ADC_RESOLUTION_12B;
  hadc2.Init.DataAlign = ADC_DATAALIGN_LEFT;
  hadc2.Init.GainCompensation = 0;
  hadc2.Init.ScanConvMode = ADC_SCAN_DISABLE;
  hadc2.Init.EOCSelection = ADC_EOC_SINGLE_CONV;
  hadc2.Init.LowPowerAutoWait = DISABLE;
  hadc2.Init.ContinuousConvMode = DISABLE;
  hadc2.Init.NbrOfConversion = 1;
  hadc2.Init.DiscontinuousConvMode = DISABLE;
  hadc2.Init.ExternalTrigConv = ADC_SOFTWARE_START;
  hadc2.Init.ExternalTrigConvEdge = ADC_EXTERNALTRIGCONVEDGE_NONE;
  hadc2.Init.DMAContinuousRequests = DISABLE;
  hadc2.Init.Overrun = ADC_OVR_DATA_PRESERVED;
  hadc2.Init.OversamplingMode = DISABLE;
  if (HAL_ADC_Init(&hadc2) != HAL_OK)
  {
    Error_Handler();
  }

  /** Configure Analog WatchDog 1
  */
  AnalogWDGConfig.WatchdogNumber = ADC_ANALOGWATCHDOG_1;
  AnalogWDGConfig.WatchdogMode = ADC_ANALOGWATCHDOG_SINGLE_INJEC;
  AnalogWDGConfig.Channel = ADC_CHANNEL_6;
  AnalogWDGConfig.ITMode = DISABLE;
  AnalogWDGConfig.HighThreshold = 0;
  AnalogWDGConfig.LowThreshold = 0;
  AnalogWDGConfig.FilteringConfig = ADC_AWD_FILTERING_NONE;
  if (HAL_ADC_AnalogWDGConfig(&hadc2, &AnalogWDGConfig) != HAL_OK)
  {
    Error_Handler();
  }

  /** Configure Injected Channel
  */
  sConfigInjected.InjectedChannel = ADC_CHANNEL_6;
  sConfigInjected.InjectedRank = ADC_INJECTED_RANK_1;
  sConfigInjected.InjectedSamplingTime = ADC_SAMPLETIME_47CYCLES_5;
  sConfigInjected.InjectedSingleDiff = ADC_SINGLE_ENDED;
  sConfigInjected.InjectedOffsetNumber = ADC_OFFSET_NONE;
  sConfigInjected.InjectedOffset = 0;
  sConfigInjected.InjectedNbrOfConversion = 1;
  sConfigInjected.InjectedDiscontinuousConvMode = DISABLE;
  sConfigInjected.AutoInjectedConv = DISABLE;
  sConfigInjected.QueueInjectedContext = DISABLE;
  sConfigInjected.ExternalTrigInjecConv = ADC_EXTERNALTRIGINJEC_T1_TRGO;
  sConfigInjected.ExternalTrigInjecConvEdge = ADC_EXTERNALTRIGINJECCONV_EDGE_FALLING;
  sConfigInjected.InjecOversamplingMode = DISABLE;
  if (HAL_ADCEx_InjectedConfigChannel(&hadc2, &sConfigInjected) != HAL_OK)
  {
    Error_Handler();
  }

  /** Configure Regular Channel
  */
  sConfig.Channel = ADC_CHANNEL_5;
  sConfig.Rank = ADC_REGULAR_RANK_1;
  sConfig.SamplingTime = ADC_SAMPLETIME_47CYCLES_5;
  sConfig.SingleDiff = ADC_SINGLE_ENDED;
  sConfig.OffsetNumber = ADC_OFFSET_NONE;
  sConfig.Offset = 0;
  if (HAL_ADC_ConfigChannel(&hadc2, &sConfig) != HAL_OK)
  {
    Error_Handler();
  }

}

static void MX_I2C1_Init(void)
{

  hi2c1.Instance = I2C1;
  hi2c1.Init.Timing = 0x40B285C2;
  hi2c1.Init.OwnAddress1 = 0;
  hi2c1.Init.AddressingMode = I2C_ADDRESSINGMODE_7BIT;
  hi2c1.Init.DualAddressMode = I2C_DUALADDRESS_DISABLE;
  hi2c1.Init.OwnAddress2 = 0;
  hi2c1.Init.OwnAddress2Masks = I2C_OA2_NOMASK;
  hi2c1.Init.GeneralCallMode = I2C_GENERALCALL_DISABLE;
  hi2c1.Init.NoStretchMode = I2C_NOSTRETCH_DISABLE;
  if (HAL_I2C_Init(&hi2c1) != HAL_OK)
  {
    Error_Handler();
  }

  /** Configure Analogue filter
  */
  if (HAL_I2CEx_ConfigAnalogFilter(&hi2c1, I2C_ANALOGFILTER_ENABLE) != HAL_OK)
  {
    Error_Handler();
  }

  /** Configure Digital filter
  */
  if (HAL_I2CEx_ConfigDigitalFilter(&hi2c1, 0) != HAL_OK)
  {
    Error_Handler();
  }

}

static void MX_TIM1_Init(void)
{

  TIM_ClockConfigTypeDef sClockSourceConfig = {0};
  TIM_MasterConfigTypeDef sMasterConfig = {0};
  TIMEx_BreakInputConfigTypeDef sBreakInputConfig = {0};
  TIM_OC_InitTypeDef sConfigOC = {0};
  TIM_BreakDeadTimeConfigTypeDef sBreakDeadTimeConfig = {0};

  htim1.Instance = TIM1;
  htim1.Init.Prescaler = ((TIM_CLOCK_DIVIDER) - 1);
  htim1.Init.CounterMode = TIM_COUNTERMODE_UP;
  htim1.Init.Period = (PWM_PERIOD_CYCLES);
  htim1.Init.ClockDivision = TIM_CLOCKDIVISION_DIV1;
  htim1.Init.RepetitionCounter = (REP_COUNTER);
  htim1.Init.AutoReloadPreload = TIM_AUTORELOAD_PRELOAD_DISABLE;
  if (HAL_TIM_Base_Init(&htim1) != HAL_OK)
  {
    Error_Handler();
  }
  sClockSourceConfig.ClockSource = TIM_CLOCKSOURCE_INTERNAL;
  if (HAL_TIM_ConfigClockSource(&htim1, &sClockSourceConfig) != HAL_OK)
  {
    Error_Handler();
  }
  if (HAL_TIM_PWM_Init(&htim1) != HAL_OK)
  {
    Error_Handler();
  }
  sMasterConfig.MasterOutputTrigger = TIM_TRGO_OC4REF;
  sMasterConfig.MasterOutputTrigger2 = TIM_TRGO2_RESET;
  sMasterConfig.MasterSlaveMode = TIM_MASTERSLAVEMODE_ENABLE;
  if (HAL_TIMEx_MasterConfigSynchronization(&htim1, &sMasterConfig) != HAL_OK)
  {
    Error_Handler();
  }
  sBreakInputConfig.Source = TIM_BREAKINPUTSOURCE_BKIN;
  sBreakInputConfig.Enable = TIM_BREAKINPUTSOURCE_ENABLE;
  sBreakInputConfig.Polarity = TIM_BREAKINPUTSOURCE_POLARITY_LOW;
  if (HAL_TIMEx_ConfigBreakInput(&htim1, TIM_BREAKINPUT_BRK, &sBreakInputConfig) != HAL_OK)
  {
    Error_Handler();
  }
  sConfigOC.OCMode = TIM_OCMODE_PWM1;
  sConfigOC.Pulse = 0;
  sConfigOC.OCPolarity = TIM_OCPOLARITY_HIGH;
  sConfigOC.OCNPolarity = TIM_OCNPOLARITY_HIGH;
  sConfigOC.OCFastMode = TIM_OCFAST_DISABLE;
  sConfigOC.OCIdleState = TIM_OCIDLESTATE_RESET;
  sConfigOC.OCNIdleState = TIM_OCNIDLESTATE_RESET;
  if (HAL_TIM_PWM_ConfigChannel(&htim1, &sConfigOC, TIM_CHANNEL_1) != HAL_OK)
  {
    Error_Handler();
  }
  if (HAL_TIM_PWM_ConfigChannel(&htim1, &sConfigOC, TIM_CHANNEL_2) != HAL_OK)
  {
    Error_Handler();
  }
  if (HAL_TIM_PWM_ConfigChannel(&htim1, &sConfigOC, TIM_CHANNEL_3) != HAL_OK)
  {
    Error_Handler();
  }
  if (HAL_TIM_PWM_ConfigChannel(&htim1, &sConfigOC, TIM_CHANNEL_4) != HAL_OK)
  {
    Error_Handler();
  }
  sBreakDeadTimeConfig.OffStateRunMode = TIM_OSSR_DISABLE;
  sBreakDeadTimeConfig.OffStateIDLEMode = TIM_OSSI_DISABLE;
  sBreakDeadTimeConfig.LockLevel = TIM_LOCKLEVEL_OFF;
  sBreakDeadTimeConfig.DeadTime = 0;
  sBreakDeadTimeConfig.BreakState = TIM_BREAK_ENABLE;
  sBreakDeadTimeConfig.BreakPolarity = TIM_BREAKPOLARITY_HIGH;
  sBreakDeadTimeConfig.BreakFilter = 4;
  sBreakDeadTimeConfig.BreakAFMode = TIM_BREAK_AFMODE_INPUT;
  sBreakDeadTimeConfig.Break2State = TIM_BREAK2_DISABLE;
  sBreakDeadTimeConfig.Break2Polarity = TIM_BREAK2POLARITY_HIGH;
  sBreakDeadTimeConfig.Break2Filter = 3;
  sBreakDeadTimeConfig.Break2AFMode = TIM_BREAK_AFMODE_INPUT;
  sBreakDeadTimeConfig.AutomaticOutput = TIM_AUTOMATICOUTPUT_DISABLE;
  if (HAL_TIMEx_ConfigBreakDeadTime(&htim1, &sBreakDeadTimeConfig) != HAL_OK)
  {
    Error_Handler();
  }
  HAL_TIM_MspPostInit(&htim1);

}

static void MX_TIM2_Init(void)
{

  TIM_ClockConfigTypeDef sClockSourceConfig = {0};
  TIM_MasterConfigTypeDef sMasterConfig = {0};

  htim2.Instance = TIM2;
  htim2.Init.Prescaler = LF_TIMER_PSC;
  htim2.Init.CounterMode = TIM_COUNTERMODE_UP;
  htim2.Init.Period = LF_TIMER_ARR;
  htim2.Init.ClockDivision = TIM_CLOCKDIVISION_DIV1;
  htim2.Init.AutoReloadPreload = TIM_AUTORELOAD_PRELOAD_DISABLE;
  if (HAL_TIM_Base_Init(&htim2) != HAL_OK)
  {
    Error_Handler();
  }
  sClockSourceConfig.ClockSource = TIM_CLOCKSOURCE_INTERNAL;
  if (HAL_TIM_ConfigClockSource(&htim2, &sClockSourceConfig) != HAL_OK)
  {
    Error_Handler();
  }
  sMasterConfig.MasterOutputTrigger = TIM_TRGO_ENABLE;
  sMasterConfig.MasterSlaveMode = TIM_MASTERSLAVEMODE_ENABLE;
  if (HAL_TIMEx_MasterConfigSynchronization(&htim2, &sMasterConfig) != HAL_OK)
  {
    Error_Handler();
  }

}

static void MX_USART1_UART_Init(void)
{

  huart1.Instance = USART1;
  huart1.Init.BaudRate = 115200;
  huart1.Init.WordLength = UART_WORDLENGTH_8B;
  huart1.Init.StopBits = UART_STOPBITS_1;
  huart1.Init.Parity = UART_PARITY_NONE;
  huart1.Init.Mode = UART_MODE_TX_RX;
  huart1.Init.HwFlowCtl = UART_HWCONTROL_NONE;
  huart1.Init.OverSampling = UART_OVERSAMPLING_16;
  huart1.Init.OneBitSampling = UART_ONE_BIT_SAMPLE_DISABLE;
  huart1.Init.ClockPrescaler = UART_PRESCALER_DIV1;
  huart1.AdvancedInit.AdvFeatureInit = UART_ADVFEATURE_NO_INIT;
  if (HAL_UART_Init(&huart1) != HAL_OK)
  {
    Error_Handler();
  }
  if (HAL_UARTEx_SetTxFifoThreshold(&huart1, UART_TXFIFO_THRESHOLD_1_8) != HAL_OK)
  {
    Error_Handler();
  }
  if (HAL_UARTEx_SetRxFifoThreshold(&huart1, UART_RXFIFO_THRESHOLD_1_8) != HAL_OK)
  {
    Error_Handler();
  }
  if (HAL_UARTEx_DisableFifoMode(&huart1) != HAL_OK)
  {
    Error_Handler();
  }

}

static void MX_GPIO_Init(void)
{
  GPIO_InitTypeDef GPIO_InitStruct = {0};

  /* GPIO Ports Clock Enable */
  __HAL_RCC_GPIOC_CLK_ENABLE();
  __HAL_RCC_GPIOF_CLK_ENABLE();
  __HAL_RCC_GPIOA_CLK_ENABLE();
  __HAL_RCC_GPIOB_CLK_ENABLE();

  /*Configure GPIO pin Output Level */
  HAL_GPIO_WritePin(GPIOB, M1_PWM_EN_U_Pin|M1_PWM_EN_V_Pin|M1_PWM_EN_W_Pin, GPIO_PIN_RESET);

  /*Configure GPIO pin Output Level */
  HAL_GPIO_WritePin(M1_BEMF_DIVIDER_GPIO_Port, M1_BEMF_DIVIDER_Pin, GPIO_PIN_RESET);

  /*Configure GPIO pin : Start_Stop_Pin */
  GPIO_InitStruct.Pin = Start_Stop_Pin;
  GPIO_InitStruct.Mode = GPIO_MODE_IT_FALLING;
  GPIO_InitStruct.Pull = GPIO_NOPULL;
  HAL_GPIO_Init(Start_Stop_GPIO_Port, &GPIO_InitStruct);

  /*Configure GPIO pins : UART_TX_Pin UART_RX_Pin */
  GPIO_InitStruct.Pin = UART_TX_Pin|UART_RX_Pin;
  GPIO_InitStruct.Mode = GPIO_MODE_AF_PP;
  GPIO_InitStruct.Pull = GPIO_NOPULL;
  GPIO_InitStruct.Speed = GPIO_SPEED_FREQ_LOW;
  GPIO_InitStruct.Alternate = GPIO_AF7_USART2;
  HAL_GPIO_Init(GPIOA, &GPIO_InitStruct);

  /*Configure GPIO pins : M1_PWM_EN_U_Pin M1_PWM_EN_V_Pin M1_PWM_EN_W_Pin */
  GPIO_InitStruct.Pin = M1_PWM_EN_U_Pin|M1_PWM_EN_V_Pin|M1_PWM_EN_W_Pin;
  GPIO_InitStruct.Mode = GPIO_MODE_OUTPUT_PP;
  GPIO_InitStruct.Pull = GPIO_PULLDOWN;
  GPIO_InitStruct.Speed = GPIO_SPEED_FREQ_HIGH;
  HAL_GPIO_Init(GPIOB, &GPIO_InitStruct);

  /*Configure GPIO pin : M1_BEMF_DIVIDER_Pin */
  GPIO_InitStruct.Pin = M1_BEMF_DIVIDER_Pin;
  GPIO_InitStruct.Mode = GPIO_MODE_OUTPUT_PP;
  GPIO_InitStruct.Pull = GPIO_PULLDOWN;
  GPIO_InitStruct.Speed = GPIO_SPEED_FREQ_LOW;
  HAL_GPIO_Init(M1_BEMF_DIVIDER_GPIO_Port, &GPIO_InitStruct);

}

/* USER CODE BEGIN 4 */
void writeLCDText(char *text)
{
    uint8_t clear_cmd[] = {0xFE, 0x01};
    uint8_t home_cmd[]  = {0xFE, 0x80};

    HAL_I2C_Master_Transmit(&hi2c1, SERLCD_WRITE_ADDR, clear_cmd, 2, HAL_MAX_DELAY);
    HAL_Delay(1);

    HAL_I2C_Master_Transmit(&hi2c1, SERLCD_WRITE_ADDR, home_cmd, 2, HAL_MAX_DELAY);
    HAL_Delay(1);

    HAL_I2C_Master_Transmit(&hi2c1, SERLCD_WRITE_ADDR, text, strlen(text), HAL_MAX_DELAY
    );
}
/* USER CODE END 4 */

void StartDefaultTask(void *argument)
{
  for(;;)
  {
    osDelay(1);
  }
}

void StartTask02(void *argument)
{
  /* USER CODE BEGIN StartTask02 */
  bool is_pressed = false;
  bool last_btn_state = false;

  for(;;)
  {
	is_pressed = (HAL_GPIO_ReadPin(Start_Stop_GPIO_Port, Start_Stop_Pin) == GPIO_PIN_RESET);
    if (is_pressed && !last_btn_state) {
        motor_running = !motor_running;

        if (motor_running) {
            MC_AcknowledgeFaultMotor1();
            MC_StartMotor1();
        } else {
            MC_StopMotor1();
        }
    }
    last_btn_state = is_pressed;
    osDelay(50);
  }
  /* USER CODE END StartTask02 */
}

void StartTask03(void *argument)
{
  /* USER CODE BEGIN StartTask03 */
  char lcd_buffer[16];

  for(;;)
  {
    // Fetch the true mechanical speed directly from the ST Motor API
    int16_t actual_speed = MC_GetMecSpeedAverageMotor1();

    // The spaces at the end ensure old ghost characters are overwritten
    sprintf(lcd_buffer, "Spd: %-6d    ", actual_speed);
    writeLCDText(lcd_buffer);

    osDelay(200); // 5 frames per second
  }
  /* USER CODE END StartTask03 */
}

void HAL_TIM_PeriodElapsedCallback(TIM_HandleTypeDef *htim)
{
  if (htim->Instance == TIM6)
  {
    HAL_IncTick();
  }
  /* USER CODE BEGIN Callback 1 */
  if (htim->Instance == TIM6)
    {
      MC_RunMotorControlTasks();
    }
  /* USER CODE END Callback 1 */
}

void Error_Handler(void)
{
  __disable_irq();
  while (1)
  {
  }
}
